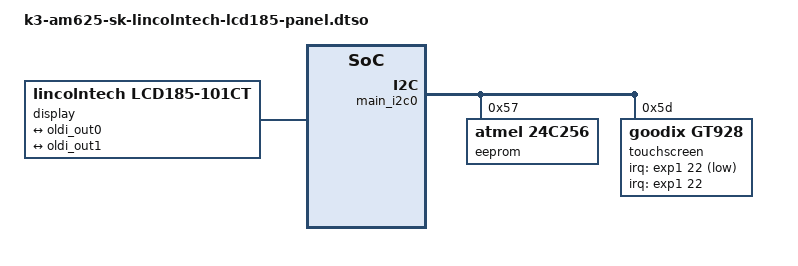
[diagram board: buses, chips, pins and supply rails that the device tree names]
// SPDX-License-Identifier: GPL-2.0
/**
 * Lincoln tech Solutions OLDI panel (LCD185-101CT) and touch DT overlay for AM625-SK
 *
 * AM625-SKEVM: https://www.ti.com/tool/SK-AM62
 * Panel datasheet: https://lincolntechsolutions.com/wp-content/uploads/2023/04/LCD185-101CTL1ARNTT_DS_R1.3.pdf
 *
 * Copyright (C) 2023 Texas Instruments Incorporated - http://www.ti.com/
 */

/dts-v1/;
/plugin/;

#include <dt-bindings/gpio/gpio.h>
#include <dt-bindings/interrupt-controller/irq.h>

&{/} {
	display {
		compatible = "lincolntech,lcd185-101ct";
		/*
		* Note that the OLDI TX 0 transmits the odd set of pixels
		* while the OLDI TX 1 transmits the even set. This is a
		* fixed configuration in the IP integration and is not
		* changeable. The properties, "dual-lvds-odd-pixels" and
		* "dual-lvds-even-pixels" have been used to merely
		* identify if a Dual Link configuration is required.
		* But swapping them will cause an error in the dss driver.
		*/
		port@0 {
			dual-lvds-odd-pixels;
			lcd_in0: endpoint {
				remote-endpoint = <&oldi_out0>;
			};
		};
		port@1 {
			dual-lvds-even-pixels;
			lcd_in1: endpoint {
				remote-endpoint = <&oldi_out1>;
			};
		};
	};
};

&dss_ports {
	#address-cells = <1>;
	#size-cells = <0>;

	/* VP1: LVDS Output (OLDI TX 0) */
	port@0 {
		reg = <0>;
		oldi_out0: endpoint {
			remote-endpoint = <&lcd_in0>;
		};
	};

	/* VP1: LVDS Output (OLDI TX 1) */
	port@2 {
		reg = <2>;
		oldi_out1: endpoint {
			remote-endpoint = <&lcd_in1>;
		};
	};
};

&main_i2c0 {
	#address-cells = <1>;
	#size-cells = <0>;

	eeprom@57 {
		compatible = "atmel,24c256";
		reg = <0x57>;
	};

	touchscreen@5d {
		compatible = "goodix,gt928";
		reg = <0x5d>;
		interrupt-parent = <&exp1>;
		interrupts = <22 IRQ_TYPE_EDGE_FALLING>;
		irq-gpios = <&exp1 22 GPIO_ACTIVE_LOW>;
		touchscreen-size-x = <1920>;
		touchscreen-size-y = <1200>;
	};
};
